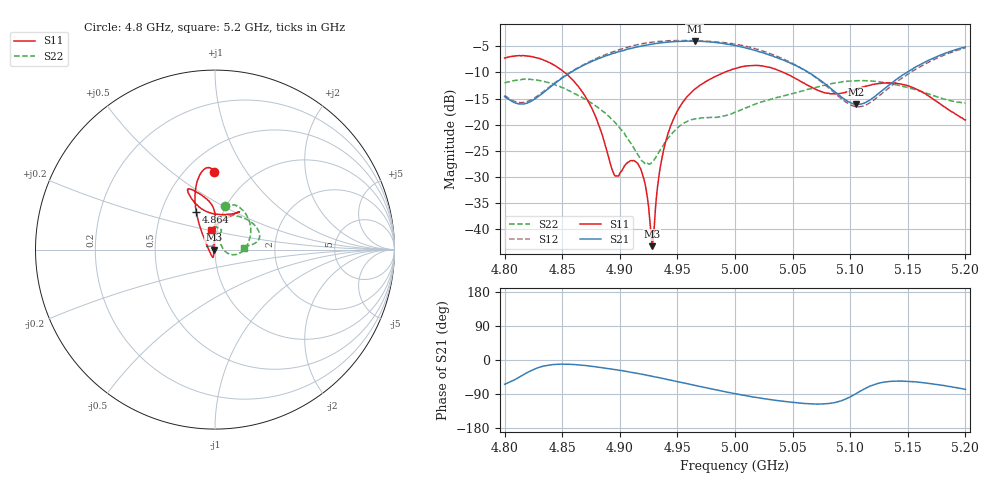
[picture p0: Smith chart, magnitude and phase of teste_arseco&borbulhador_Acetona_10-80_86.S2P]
! Network Analyzer HP8722D
! Hewlett-Packard
! Data name: Linha & Wilkinson
! Saver's name: Rodrigo Anjos
! Comments: Teste da utilização de aquisição
! continua pelo VNA HP8722D
! Time and date: 25/4/2025 15:59
!  Frequency  S11  S21  S12  S22
# HZ  S  MA R 50
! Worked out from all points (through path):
!   401 points, 4.8 GHz to 5.2 GHz, reference 50 ohm
!   highest |S21| = -3.97 dB at 4.965 GHz (marker M1); lowest = -16.1 dB at 5.105 GHz (marker M2)
!   lowest |S11| = -43.3 dB at 4.928 GHz (marker M3), VSWR 1.01, Z = 49.3 - j0.11 ohm
!   |S11| at or under -10 dB: 4.852 GHz to 4.991 GHz (138.6 MHz wide, 2.82 % of centre); 5.042 GHz to end of sweep
!   |S22| runs from -27.6 to -11.3 dB; largest |S21 - S12| = 1.2
!   S11 on the Smith chart (normalised r, x): 4.8 GHz: 0.68, +0.72; 4.864 GHz: 0.75, +0.33; 5.2 GHz: 0.94, +0.21
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4.8e9  0.4342 90.7  0.1858 -63.9  0.1912 69.6  0.2499 77.4
4.821e9  0.4533 97.3  0.1635 -31.0  0.1687 99.8  0.2712 61.0
4.864e9  0.232 116.6  0.3493 -12.9  0.3521 121.0  0.1898 12.2
4.867e9  0.209 118.2  0.3631 -13.8  0.3671 120.7  0.1829 8.9
4.88e9  0.1113 128.6  0.423 -18.4  0.433 118.3  0.1486 -5.2
4.895e9  0.03314 -174.0  0.4852 -24.8  0.5016 113.8  0.1074 -15.4
4.91e9  0.04509 -106.0  0.5389 -32.5  0.5642 107.2  0.06521 -13.6
4.917e9  0.03934 -103.1  0.5613 -36.4  0.5891 103.6  0.04877 -1.4
4.922e9  0.02677 -105.4  0.5742 -39.2  0.6028 100.8  0.04204 16.0
4.928e9  0.006812 -170.6  0.5915 -42.9  0.6175 97.1  0.04342 40.6
4.93e9  0.01081 124.5  0.5959 -44.2  0.6199 95.9  0.04626 47.6
4.934e9  0.03218 98.7  0.6039 -46.8  0.6281 93.3  0.05461 57.9
4.939e9  0.06321 92.6  0.6151 -49.7  0.6347 90.0  0.06684 65.4
4.946e9  0.1089 89.8  0.6237 -54.4  0.6379 85.6  0.0839 70.1
4.965e9  0.2179 90.9  0.6331 -67.0  0.6373 73.6  0.1132 71.3
5e9  0.3453 109.1  0.5732 -89.0  0.5927 50.9  0.1314 88.5
5.03e9  0.354 115.1  0.4655 -104.1  0.4818 33.7  0.1732 85.4
5.067e9  0.2264 105.2  0.3013 -116.0  0.2988 23.6  0.2219 57.2
5.105e9  0.2187 65.3  0.1563 -89.0  0.1484 54.1  0.2635 25.6
5.134e9  0.2509 57.1  0.2408 -56.7  0.2263 88.7  0.2483 12.5
5.168e9  0.1883 69.1  0.4132 -61.7  0.397 85.2  0.196 7.1
5.2e9  0.1106 100.5  0.5557 -77.5  0.5451 70.2  0.1614 3.8
